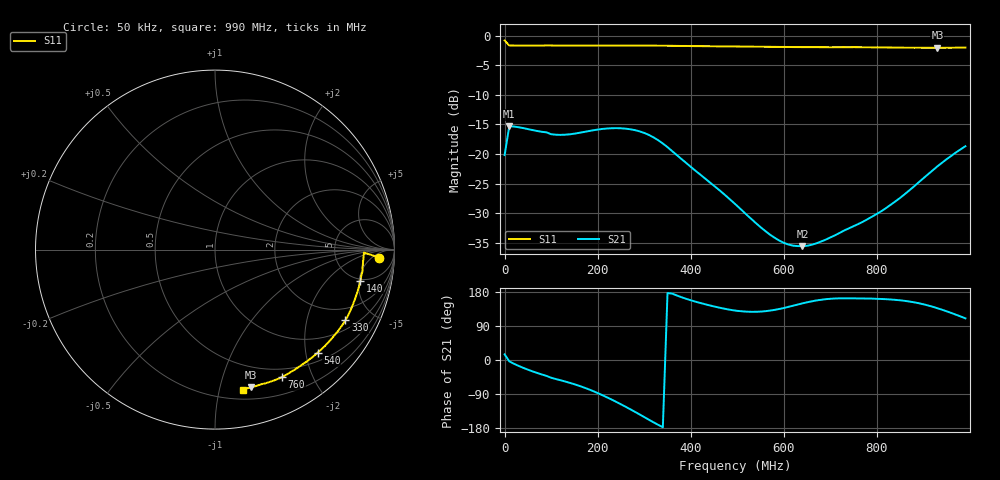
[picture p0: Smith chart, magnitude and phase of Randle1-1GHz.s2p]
! NanoVNA-App
! Date: 2025-01-30 12:39:40
! Start: 50kHz Stop: 1GHz Points: 101
! S-Parameter data: F S11 S21 S12 S22
# Hz S RI R 50
!  Frequency  S11_Real  S11_Imag  S21_Real  S21_Imag  S12_Real  S12_Imag  S22_Real  S22_Imag
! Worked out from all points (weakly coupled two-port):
!   100 points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, 50 kHz to 990 MHz, reference 50 ohm
!   highest |S21| = -15.32 dB at 10.05 MHz (marker M1); lowest = -35.6 dB at 640 MHz (marker M2)
!   lowest |S11| = -2.0 dB at 930 MHz (marker M3), VSWR 8.66, Z = 15.2 - j62.6 ohm
!   |S11| at or under -10 dB: nowhere
!   S12 and S22 are empty: the file has one direction only
!   S11 on the Smith chart (normalised r, x): 50 kHz: 17, -9; 140 MHz: 4.76, -5.24; 330 MHz: 1.38, -3.43; 540 MHz: 0.67, -2.24; 760 MHz: 0.40, -1.59; 990 MHz: 0.28, -1.18
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50000  0.9142 -0.0441  0.0946 0.0252  0 0  0 0
1.00495e7  0.8298 -0.0164  0.171 -0.0106  0 0  0 0
6.0047e7  0.8243 -0.0788  0.1382 -0.0797  0 0  0 0
1.00045e8  0.8204 -0.1266  0.1005 -0.1073  0 0  0 0
1.40043e8  0.81 -0.1727  0.0728 -0.1275  0 0  0 0
1.700415e8  0.8021 -0.2074  0.0465 -0.1464  0 0  0 0
2.20039e8  0.7836 -0.2649  -0.0244 -0.1626  0 0  0 0
2.60037e8  0.766 -0.3118  -0.0902 -0.1369  0 0  0 0
3.00035e8  0.7451 -0.3591  -0.1314 -0.074  0 0  0 0
3.300335e8  0.7265 -0.3937  -0.1292 -0.0203  0 0  0 0
3.500325e8  0.7136 -0.4143  -0.1141 0.00678  0 0  0 0
4.0003e8  0.6782 -0.4616  -0.0719 0.0296  0 0  0 0
5.00025e8  0.6051 -0.5438  -0.0232 0.0279  0 0  0 0
5.40023e8  0.5711 -0.5746  -0.0157 0.0207  0 0  0 0
5.700215e8  0.5439 -0.598  -0.0134 0.0158  0 0  0 0
6.0002e8  0.5174 -0.6188  -0.013 0.012  0 0  0 0
6.40018e8  0.4811 -0.6438  -0.0143 0.00841  0 0  0 0
6.60017e8  0.4635 -0.6565  -0.0154 0.00726  0 0  0 0
7.60012e8  0.3744 -0.7099  -0.0244 0.00769  0 0  0 0
8.300085e8  0.302 -0.7384  -0.035 0.013  0 0  0 0
9.300035e8  0.2025 -0.7667  -0.0571 0.054  0 0  0 0
9.900005e8  0.1558 -0.7814  -0.0396 0.1094  0 0  0 0
